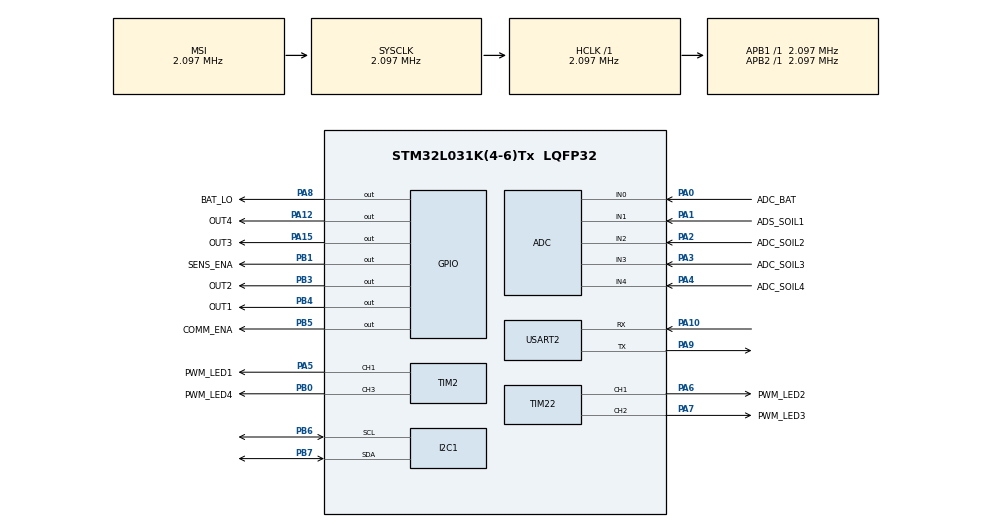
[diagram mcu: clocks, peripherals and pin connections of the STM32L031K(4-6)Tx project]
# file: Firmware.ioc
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ADC.EOCSelection=ADC_EOC_SEQ_CONV
ADC.SamplingTime=ADC_SAMPLETIME_7CYCLES_5
LPTIM1.ClockPrescaler=LPTIM_PRESCALER_DIV128
LPTIM1.UpdateMode=LPTIM_UPDATE_ENDOFPERIOD
Mcu.Family=STM32L0
Mcu.Name=STM32L031K(4-6)Tx
Mcu.Package=LQFP32
PA0-CK_IN.GPIO_Label=ADC_BAT
PA0-CK_IN.Mode=IN0
PA0-CK_IN.Signal=ADC_IN0
PA1.GPIO_Label=ADS_SOIL1
PA1.Mode=IN1
PA1.Signal=ADC_IN1
PA10.GPIO_PuPd=GPIO_NOPULL
PA10.Mode=Asynchronous
PA10.Signal=USART2_RX
PA12.GPIO_Label=OUT4
PA12.GPIO_PuPd=GPIO_PULLDOWN
PA12.Signal=GPIO_Output
PA15.GPIO_Label=OUT3
PA15.GPIO_PuPd=GPIO_PULLDOWN
PA15.Signal=GPIO_Output
PA2.GPIO_Label=ADC_SOIL2
PA2.Mode=IN2
PA2.Signal=ADC_IN2
PA3.GPIO_Label=ADC_SOIL3
PA3.Mode=IN3
PA3.Signal=ADC_IN3
PA4.GPIO_Label=ADC_SOIL4
PA4.Mode=IN4
PA4.Signal=ADC_IN4
PA5.GPIO_Label=PWM_LED1
PA5.GPIO_PuPd=GPIO_PULLDOWN
PA5.Signal=S_TIM2_CH1
PA6.GPIO_Label=PWM_LED2
PA6.GPIO_PuPd=GPIO_PULLDOWN
PA6.Signal=S_TIM22_CH1
PA7.GPIO_Label=PWM_LED3
PA7.GPIO_PuPd=GPIO_PULLDOWN
PA7.Signal=S_TIM22_CH2
PA8.GPIO_Label=BAT_LO
PA8.GPIO_PuPd=GPIO_PULLDOWN
PA8.Signal=GPIO_Output
PA9.GPIO_PuPd=GPIO_NOPULL
PA9.Mode=Asynchronous
PA9.Signal=USART2_TX
PB0.GPIO_Label=PWM_LED4
PB0.GPIO_PuPd=GPIO_PULLDOWN
PB0.Signal=S_TIM2_CH3
PB1.GPIO_Label=SENS_ENA
PB1.GPIO_PuPd=GPIO_PULLUP
PB1.PinState=GPIO_PIN_SET
PB1.Signal=GPIO_Output
PB3.GPIO_Label=OUT2
PB3.GPIO_PuPd=GPIO_PULLDOWN
PB3.Signal=GPIO_Output
PB4.GPIO_Label=OUT1
PB4.GPIO_PuPd=GPIO_PULLDOWN
PB4.Signal=GPIO_Output
PB5.GPIO_Label=COMM_ENA
PB5.GPIO_PuPd=GPIO_PULLUP
PB5.PinState=GPIO_PIN_SET
PB5.Signal=GPIO_Output
PB6.Mode=I2C
PB6.Signal=I2C1_SCL
PB7.Mode=I2C
PB7.Signal=I2C1_SDA
ProjectManager.HeapSize=0x200
ProjectManager.StackSize=0x400
ProjectManager.TargetToolchain=EWARM V8
RCC.AHBFreq_Value=2097000
RCC.APB1Freq_Value=2097000
RCC.APB1TimFreq_Value=2097000
RCC.APB2Freq_Value=2097000
RCC.APB2TimFreq_Value=2097000
RCC.HSE_VALUE=8000000
RCC.HSI16_VALUE=16000000
RCC.HSI_VALUE=16000000
RCC.LSE_VALUE=32768
RCC.MSI_VALUE=2097000
RCC.SYSCLKFreq_VALUE=2097000
RCC.VCOOutputFreq_Value=48000000
SH.S_TIM22_CH1.0=TIM22_CH1,PWM Generation1 CH1
SH.S_TIM22_CH2.0=TIM22_CH2,PWM Generation2 CH2
SH.S_TIM2_CH1.0=TIM2_CH1,PWM Generation1 CH1
SH.S_TIM2_CH3.0=TIM2_CH3,PWM Generation3 CH3
TIM2.Channel-PWM\ Generation1\ CH1=TIM_CHANNEL_1
TIM2.Channel-PWM\ Generation3\ CH3=TIM_CHANNEL_3
TIM22.Channel-PWM\ Generation1\ CH1=TIM_CHANNEL_1
TIM22.Channel-PWM\ Generation2\ CH2=TIM_CHANNEL_2
USART2.VirtualMode-Asynchronous=VM_ASYNC
VP_ADC_Vref_Input.Mode=IN-Vrefint
VP_LPTIM1_VS_LPTIM_counterModeInternalClock.Mode=Counts__internal_clock_event_00
board=custom

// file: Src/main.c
/* USER CODE BEGIN Header */
/**
  ******************************************************************************
  * @file           : main.c
  * @brief          : Main program body
  ******************************************************************************
  * @attention
  *
  * <h2><center>&copy; Copyright (c) 2019 STMicroelectronics.
  * All rights reserved.</center></h2>
  *
  * This software component is licensed by ST under BSD 3-Clause license,
  * the "License"; You may not use this file except in compliance with the
  * License. You may obtain a copy of the License at:
  *                        opensource.org/licenses/BSD-3-Clause
  *
  ******************************************************************************
  */
/* USER CODE END Header */

#include "main.h"

/* USER CODE BEGIN Includes */
#include <stdbool.h>
/* USER CODE END Includes */

/* USER CODE BEGIN PD */
#define VREFINT_ADDR 0x1FF80078
#define VDD	3300

#define SOIL_THRESHOLD_MV 	1800 // The measured threshold was 1.9V, so i set the threshold a bit lower

#define WATERING_TIME_MS 	10000	// water 10 seconds
#define SLEEP_TIME_MS 		90000	// once per 15 minutes
/* USER CODE END PD */

ADC_HandleTypeDef hadc;

I2C_HandleTypeDef hi2c1;

LPTIM_HandleTypeDef hlptim1;

TIM_HandleTypeDef htim2;
TIM_HandleTypeDef htim22;

UART_HandleTypeDef huart2;

/* USER CODE BEGIN PV */
uint32_t r_single_int_channel_ADC(uint32_t channel);
void config_int_channel_ADC(uint32_t channel, uint8_t val);
uint32_t r_single_ext_channel_ADC(uint32_t channel);
void config_ext_channel_ADC(uint32_t channel, uint8_t val);
/* USER CODE END PV */

void SystemClock_Config(void);
static void MX_GPIO_Init(void);
static void MX_TIM2_Init(void);
static void MX_TIM22_Init(void);
static void MX_ADC_Init(void);
static void MX_USART2_UART_Init(void);
static void MX_I2C1_Init(void);
static void MX_LPTIM1_Init(void);

int main(void)
{
  /* USER CODE BEGIN 1 */
	uint16_t vrefint_cal= *((uint16_t*)VREFINT_ADDR);
  /* USER CODE END 1 */

  /* MCU Configuration--------------------------------------------------------*/

  /* Reset of all peripherals, Initializes the Flash interface and the Systick. */
  HAL_Init();

  /* Configure the system clock */
  SystemClock_Config();

  /* Initialize all configured peripherals */
  MX_GPIO_Init();
  MX_TIM2_Init();
  MX_TIM22_Init();
  MX_ADC_Init();
  MX_USART2_UART_Init();
  MX_I2C1_Init();
  MX_LPTIM1_Init();
  /* USER CODE BEGIN 2 */

  HAL_GPIO_WritePin(BAT_LO_GPIO_Port, BAT_LO_Pin, 1);

	HAL_GPIO_WritePin(SENS_ENA_GPIO_Port, SENS_ENA_Pin, 0);
  /* USER CODE END 2 */

  /* Infinite loop */
  /* USER CODE BEGIN WHILE */
  while (1)
  {

	  uint16_t vbat_adc = r_single_ext_channel_ADC(ADC_CHANNEL_0);
	  uint16_t soil1_adc = r_single_ext_channel_ADC(ADC_CHANNEL_1);
	  uint16_t soil2_adc = r_single_ext_channel_ADC(ADC_CHANNEL_2);
	  uint16_t soil3_adc = r_single_ext_channel_ADC(ADC_CHANNEL_3);
	  uint16_t soil4_adc = r_single_ext_channel_ADC(ADC_CHANNEL_4);
	  uint16_t vrefint_adc = r_single_int_channel_ADC(ADC_CHANNEL_VREFINT);

	  uint16_t vdd_real = VDD*vrefint_cal/vrefint_adc;

	  uint16_t vbat = vdd_real*vbat_adc/4095;
	  uint16_t soil1 = vdd_real*soil1_adc/4095;
	  uint16_t soil2 = vdd_real*soil2_adc/4095;
	  uint16_t soil3 = vdd_real*soil3_adc/4095;
	  uint16_t soil4 = vdd_real*soil4_adc/4095;

	  /*if (soil1 >= 2000)
	  {
			HAL_GPIO_WritePin(OUT1_GPIO_Port, OUT1_Pin, GPIO_PIN_SET);
	  } else
	  {

			HAL_GPIO_WritePin(OUT1_GPIO_Port, OUT1_Pin, GPIO_PIN_RESET);
	  }*/

	  HAL_GPIO_WritePin(OUT1_GPIO_Port, OUT1_Pin, soil1 >= SOIL_THRESHOLD_MV);
	  HAL_GPIO_WritePin(OUT2_GPIO_Port, OUT2_Pin, soil2 >= SOIL_THRESHOLD_MV);
	  HAL_GPIO_WritePin(OUT3_GPIO_Port, OUT3_Pin, soil3 >= SOIL_THRESHOLD_MV);
	  HAL_GPIO_WritePin(OUT4_GPIO_Port, OUT4_Pin, soil4 >= SOIL_THRESHOLD_MV);

	  HAL_Delay(WATERING_TIME_MS);

	  HAL_GPIO_WritePin(OUT1_GPIO_Port, OUT1_Pin, 0);
	  HAL_GPIO_WritePin(OUT2_GPIO_Port, OUT2_Pin, 0);
	  HAL_GPIO_WritePin(OUT3_GPIO_Port, OUT3_Pin, 0);
	  HAL_GPIO_WritePin(OUT4_GPIO_Port, OUT4_Pin, 0);

	  HAL_Delay(SLEEP_TIME_MS);
    /* USER CODE END WHILE */

  }
}

void SystemClock_Config(void)
{
  RCC_OscInitTypeDef RCC_OscInitStruct = {0};
  RCC_ClkInitTypeDef RCC_ClkInitStruct = {0};
  RCC_PeriphCLKInitTypeDef PeriphClkInit = {0};

  /** Configure the main internal regulator output voltage
  */
  __HAL_PWR_VOLTAGESCALING_CONFIG(PWR_REGULATOR_VOLTAGE_SCALE1);
  /** Initializes the CPU, AHB and APB busses clocks
  */
  RCC_OscInitStruct.OscillatorType = RCC_OSCILLATORTYPE_MSI;
  RCC_OscInitStruct.MSIState = RCC_MSI_ON;
  RCC_OscInitStruct.MSICalibrationValue = 0;
  RCC_OscInitStruct.MSIClockRange = RCC_MSIRANGE_5;
  RCC_OscInitStruct.PLL.PLLState = RCC_PLL_NONE;
  if (HAL_RCC_OscConfig(&RCC_OscInitStruct) != HAL_OK)
  {
    Error_Handler();
  }
  /** Initializes the CPU, AHB and APB busses clocks
  */
  RCC_ClkInitStruct.ClockType = RCC_CLOCKTYPE_HCLK|RCC_CLOCKTYPE_SYSCLK
                              |RCC_CLOCKTYPE_PCLK1|RCC_CLOCKTYPE_PCLK2;
  RCC_ClkInitStruct.SYSCLKSource = RCC_SYSCLKSOURCE_MSI;
  RCC_ClkInitStruct.AHBCLKDivider = RCC_SYSCLK_DIV1;
  RCC_ClkInitStruct.APB1CLKDivider = RCC_HCLK_DIV1;
  RCC_ClkInitStruct.APB2CLKDivider = RCC_HCLK_DIV1;

  if (HAL_RCC_ClockConfig(&RCC_ClkInitStruct, FLASH_LATENCY_0) != HAL_OK)
  {
    Error_Handler();
  }
  PeriphClkInit.PeriphClockSelection = RCC_PERIPHCLK_USART2|RCC_PERIPHCLK_I2C1
                              |RCC_PERIPHCLK_LPTIM1;
  PeriphClkInit.Usart2ClockSelection = RCC_USART2CLKSOURCE_PCLK1;
  PeriphClkInit.I2c1ClockSelection = RCC_I2C1CLKSOURCE_PCLK1;
  PeriphClkInit.LptimClockSelection = RCC_LPTIM1CLKSOURCE_PCLK;

  if (HAL_RCCEx_PeriphCLKConfig(&PeriphClkInit) != HAL_OK)
  {
    Error_Handler();
  }
}

static void MX_ADC_Init(void)
{

  ADC_ChannelConfTypeDef sConfig = {0};

  /** Configure the global features of the ADC (Clock, Resolution, Data Alignment and number of conversion)
  */
  hadc.Instance = ADC1;
  hadc.Init.OversamplingMode = DISABLE;
  hadc.Init.ClockPrescaler = ADC_CLOCK_SYNC_PCLK_DIV1;
  hadc.Init.Resolution = ADC_RESOLUTION_12B;
  hadc.Init.SamplingTime = ADC_SAMPLETIME_19CYCLES_5;
  hadc.Init.ScanConvMode = ADC_SCAN_DIRECTION_FORWARD;
  hadc.Init.DataAlign = ADC_DATAALIGN_RIGHT;
  hadc.Init.ContinuousConvMode = ENABLE;
  hadc.Init.DiscontinuousConvMode = DISABLE;
  hadc.Init.ExternalTrigConvEdge = ADC_EXTERNALTRIGCONVEDGE_NONE;
  hadc.Init.ExternalTrigConv = ADC_SOFTWARE_START;
  hadc.Init.DMAContinuousRequests = DISABLE;
  hadc.Init.EOCSelection = ADC_EOC_SINGLE_CONV;
  hadc.Init.Overrun = ADC_OVR_DATA_PRESERVED;
  hadc.Init.LowPowerAutoWait = DISABLE;
  hadc.Init.LowPowerFrequencyMode = DISABLE;
  hadc.Init.LowPowerAutoPowerOff = DISABLE;
  if (HAL_ADC_Init(&hadc) != HAL_OK)
  {
    Error_Handler();
  }
  /** Configure for the selected ADC regular channel to be converted.
  */
  sConfig.Channel = ADC_CHANNEL_0;
  sConfig.Rank = ADC_RANK_CHANNEL_NUMBER;
  if (HAL_ADC_ConfigChannel(&hadc, &sConfig) != HAL_OK)
  {
    Error_Handler();
  }
  /** Configure for the selected ADC regular channel to be converted.
  */
  sConfig.Channel = ADC_CHANNEL_1;
  if (HAL_ADC_ConfigChannel(&hadc, &sConfig) != HAL_OK)
  {
    Error_Handler();
  }
  /** Configure for the selected ADC regular channel to be converted.
  */
  sConfig.Channel = ADC_CHANNEL_2;
  if (HAL_ADC_ConfigChannel(&hadc, &sConfig) != HAL_OK)
  {
    Error_Handler();
  }
  /** Configure for the selected ADC regular channel to be converted.
  */
  sConfig.Channel = ADC_CHANNEL_3;
  if (HAL_ADC_ConfigChannel(&hadc, &sConfig) != HAL_OK)
  {
    Error_Handler();
  }
  /** Configure for the selected ADC regular channel to be converted.
  */
  sConfig.Channel = ADC_CHANNEL_4;
  if (HAL_ADC_ConfigChannel(&hadc, &sConfig) != HAL_OK)
  {
    Error_Handler();
  }
  /** Configure for the selected ADC regular channel to be converted.
  */
  sConfig.Channel = ADC_CHANNEL_VREFINT;
  if (HAL_ADC_ConfigChannel(&hadc, &sConfig) != HAL_OK)
  {
    Error_Handler();
  }

}

static void MX_I2C1_Init(void)
{

  hi2c1.Instance = I2C1;
  hi2c1.Init.Timing = 0x00000708;
  hi2c1.Init.OwnAddress1 = 0;
  hi2c1.Init.AddressingMode = I2C_ADDRESSINGMODE_7BIT;
  hi2c1.Init.DualAddressMode = I2C_DUALADDRESS_DISABLE;
  hi2c1.Init.OwnAddress2 = 0;
  hi2c1.Init.OwnAddress2Masks = I2C_OA2_NOMASK;
  hi2c1.Init.GeneralCallMode = I2C_GENERALCALL_DISABLE;
  hi2c1.Init.NoStretchMode = I2C_NOSTRETCH_DISABLE;
  if (HAL_I2C_Init(&hi2c1) != HAL_OK)
  {
    Error_Handler();
  }
  /** Configure Analogue filter
  */
  if (HAL_I2CEx_ConfigAnalogFilter(&hi2c1, I2C_ANALOGFILTER_ENABLE) != HAL_OK)
  {
    Error_Handler();
  }
  /** Configure Digital filter
  */
  if (HAL_I2CEx_ConfigDigitalFilter(&hi2c1, 0) != HAL_OK)
  {
    Error_Handler();
  }

}

static void MX_LPTIM1_Init(void)
{

  hlptim1.Instance = LPTIM1;
  hlptim1.Init.Clock.Source = LPTIM_CLOCKSOURCE_APBCLOCK_LPOSC;
  hlptim1.Init.Clock.Prescaler = LPTIM_PRESCALER_DIV128;
  hlptim1.Init.Trigger.Source = LPTIM_TRIGSOURCE_SOFTWARE;
  hlptim1.Init.OutputPolarity = LPTIM_OUTPUTPOLARITY_HIGH;
  hlptim1.Init.UpdateMode = LPTIM_UPDATE_ENDOFPERIOD;
  hlptim1.Init.CounterSource = LPTIM_COUNTERSOURCE_INTERNAL;
  if (HAL_LPTIM_Init(&hlptim1) != HAL_OK)
  {
    Error_Handler();
  }

}

static void MX_TIM2_Init(void)
{

  TIM_MasterConfigTypeDef sMasterConfig = {0};
  TIM_OC_InitTypeDef sConfigOC = {0};

  htim2.Instance = TIM2;
  htim2.Init.Prescaler = 0;
  htim2.Init.CounterMode = TIM_COUNTERMODE_UP;
  htim2.Init.Period = 0;
  htim2.Init.ClockDivision = TIM_CLOCKDIVISION_DIV1;
  htim2.Init.AutoReloadPreload = TIM_AUTORELOAD_PRELOAD_DISABLE;
  if (HAL_TIM_PWM_Init(&htim2) != HAL_OK)
  {
    Error_Handler();
  }
  sMasterConfig.MasterOutputTrigger = TIM_TRGO_RESET;
  sMasterConfig.MasterSlaveMode = TIM_MASTERSLAVEMODE_DISABLE;
  if (HAL_TIMEx_MasterConfigSynchronization(&htim2, &sMasterConfig) != HAL_OK)
  {
    Error_Handler();
  }
  sConfigOC.OCMode = TIM_OCMODE_PWM1;
  sConfigOC.Pulse = 0;
  sConfigOC.OCPolarity = TIM_OCPOLARITY_HIGH;
  sConfigOC.OCFastMode = TIM_OCFAST_DISABLE;
  if (HAL_TIM_PWM_ConfigChannel(&htim2, &sConfigOC, TIM_CHANNEL_1) != HAL_OK)
  {
    Error_Handler();
  }
  if (HAL_TIM_PWM_ConfigChannel(&htim2, &sConfigOC, TIM_CHANNEL_3) != HAL_OK)
  {
    Error_Handler();
  }
  HAL_TIM_MspPostInit(&htim2);

}

static void MX_TIM22_Init(void)
{

  TIM_MasterConfigTypeDef sMasterConfig = {0};
  TIM_OC_InitTypeDef sConfigOC = {0};

  htim22.Instance = TIM22;
  htim22.Init.Prescaler = 0;
  htim22.Init.CounterMode = TIM_COUNTERMODE_UP;
  htim22.Init.Period = 0;
  htim22.Init.ClockDivision = TIM_CLOCKDIVISION_DIV1;
  htim22.Init.AutoReloadPreload = TIM_AUTORELOAD_PRELOAD_DISABLE;
  if (HAL_TIM_PWM_Init(&htim22) != HAL_OK)
  {
    Error_Handler();
  }
  sMasterConfig.MasterOutputTrigger = TIM_TRGO_RESET;
  sMasterConfig.MasterSlaveMode = TIM_MASTERSLAVEMODE_DISABLE;
  if (HAL_TIMEx_MasterConfigSynchronization(&htim22, &sMasterConfig) != HAL_OK)
  {
    Error_Handler();
  }
  sConfigOC.OCMode = TIM_OCMODE_PWM1;
  sConfigOC.Pulse = 0;
  sConfigOC.OCPolarity = TIM_OCPOLARITY_HIGH;
  sConfigOC.OCFastMode = TIM_OCFAST_DISABLE;
  if (HAL_TIM_PWM_ConfigChannel(&htim22, &sConfigOC, TIM_CHANNEL_1) != HAL_OK)
  {
    Error_Handler();
  }
  if (HAL_TIM_PWM_ConfigChannel(&htim22, &sConfigOC, TIM_CHANNEL_2) != HAL_OK)
  {
    Error_Handler();
  }
  HAL_TIM_MspPostInit(&htim22);

}

static void MX_USART2_UART_Init(void)
{

  huart2.Instance = USART2;
  huart2.Init.BaudRate = 115200;
  huart2.Init.WordLength = UART_WORDLENGTH_8B;
  huart2.Init.StopBits = UART_STOPBITS_1;
  huart2.Init.Parity = UART_PARITY_NONE;
  huart2.Init.Mode = UART_MODE_TX_RX;
  huart2.Init.HwFlowCtl = UART_HWCONTROL_NONE;
  huart2.Init.OverSampling = UART_OVERSAMPLING_16;
  huart2.Init.OneBitSampling = UART_ONE_BIT_SAMPLE_DISABLE;
  huart2.AdvancedInit.AdvFeatureInit = UART_ADVFEATURE_NO_INIT;
  if (HAL_UART_Init(&huart2) != HAL_OK)
  {
    Error_Handler();
  }

}

static void MX_GPIO_Init(void)
{
  GPIO_InitTypeDef GPIO_InitStruct = {0};

  /* GPIO Ports Clock Enable */
  __HAL_RCC_GPIOA_CLK_ENABLE();
  __HAL_RCC_GPIOB_CLK_ENABLE();

  /*Configure GPIO pin Output Level */
  HAL_GPIO_WritePin(GPIOB, SENS_ENA_Pin|COMM_ENA_Pin, GPIO_PIN_SET);

  /*Configure GPIO pin Output Level */
  HAL_GPIO_WritePin(GPIOA, BAT_LO_Pin|OUT4_Pin|OUT3_Pin, GPIO_PIN_RESET);

  /*Configure GPIO pin Output Level */
  HAL_GPIO_WritePin(GPIOB, OUT2_Pin|OUT1_Pin, GPIO_PIN_RESET);

  /*Configure GPIO pins : SENS_ENA_Pin COMM_ENA_Pin */
  GPIO_InitStruct.Pin = SENS_ENA_Pin|COMM_ENA_Pin;
  GPIO_InitStruct.Mode = GPIO_MODE_OUTPUT_PP;
  GPIO_InitStruct.Pull = GPIO_PULLUP;
  GPIO_InitStruct.Speed = GPIO_SPEED_FREQ_LOW;
  HAL_GPIO_Init(GPIOB, &GPIO_InitStruct);

  /*Configure GPIO pins : BAT_LO_Pin OUT4_Pin OUT3_Pin */
  GPIO_InitStruct.Pin = BAT_LO_Pin|OUT4_Pin|OUT3_Pin;
  GPIO_InitStruct.Mode = GPIO_MODE_OUTPUT_PP;
  GPIO_InitStruct.Pull = GPIO_PULLDOWN;
  GPIO_InitStruct.Speed = GPIO_SPEED_FREQ_LOW;
  HAL_GPIO_Init(GPIOA, &GPIO_InitStruct);

  /*Configure GPIO pins : OUT2_Pin OUT1_Pin */
  GPIO_InitStruct.Pin = OUT2_Pin|OUT1_Pin;
  GPIO_InitStruct.Mode = GPIO_MODE_OUTPUT_PP;
  GPIO_InitStruct.Pull = GPIO_PULLDOWN;
  GPIO_InitStruct.Speed = GPIO_SPEED_FREQ_LOW;
  HAL_GPIO_Init(GPIOB, &GPIO_InitStruct);

}

/* USER CODE BEGIN 4 */
void config_int_channel_ADC(uint32_t channel, uint8_t val)
{
  ADC_ChannelConfTypeDef sConfig;
  sConfig.Channel = channel;

  if(val == 1)
  {
    if(channel == ADC_CHANNEL_VREFINT)
    {
      ADC->CCR |= ADC_CCR_VREFEN;
      hadc.Instance->CHSELR = (uint32_t)(ADC_CHSELR_CHSEL17);
    }
    else if(channel == ADC_CHANNEL_TEMPSENSOR)
    {
      ADC->CCR |= ADC_CCR_TSEN;
      hadc.Instance->CHSELR = (uint32_t)(ADC_CHSELR_CHSEL6);
    }

    sConfig.Rank          = ADC_RANK_CHANNEL_NUMBER;
  }
  else if(val == 0)
  {
    if(channel == ADC_CHANNEL_VREFINT)
    {
      ADC->CCR &= ~ADC_CCR_VREFEN;
      hadc.Instance->CHSELR = 0;
    }
    else if(channel == ADC_CHANNEL_TEMPSENSOR)
    {
      ADC->CCR &= ~ADC_CCR_TSEN;
      hadc.Instance->CHSELR = 0;
    }

    sConfig.Rank          = ADC_RANK_NONE;
  }

  HAL_ADC_ConfigChannel(&hadc,&sConfig);
}

uint32_t r_single_int_channel_ADC(uint32_t channel)
{
  uint32_t digital_result;

  config_int_channel_ADC(channel, 1);

  HAL_ADC_Start(&hadc);
  HAL_ADC_PollForConversion(&hadc, 1000);
  digital_result = HAL_ADC_GetValue(&hadc);
  HAL_ADC_Stop(&hadc);

  config_int_channel_ADC(channel, 0);

  return digital_result;
}

void config_ext_channel_ADC(uint32_t channel, uint8_t val)
{
  ADC_ChannelConfTypeDef sConfig;

  sConfig.Channel = channel;

  if(1 == val)
  {
    sConfig.Rank = ADC_RANK_CHANNEL_NUMBER;
  }
  else
  {
    sConfig.Rank = ADC_RANK_NONE;
  }

  HAL_ADC_ConfigChannel(&hadc, &sConfig);
}

uint32_t r_single_ext_channel_ADC(uint32_t channel)
{
  uint32_t digital_result;

  config_ext_channel_ADC(channel, 1);

  HAL_ADC_Start(&hadc);
  HAL_ADC_PollForConversion(&hadc, 1000);
  digital_result = HAL_ADC_GetValue(&hadc);
  HAL_ADC_Stop(&hadc);

  config_ext_channel_ADC(channel, 0);

  return digital_result;
}
/* USER CODE END 4 */

void Error_Handler(void)
{
}

/************************ (C) COPYRIGHT STMicroelectronics *****END OF FILE****/
